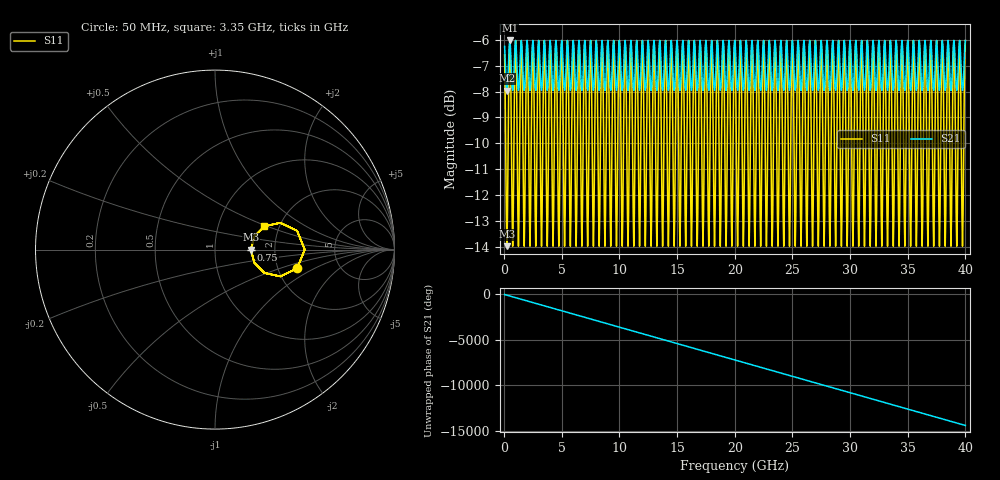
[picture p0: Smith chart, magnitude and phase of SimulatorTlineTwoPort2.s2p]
# MHz MA S R 50.0
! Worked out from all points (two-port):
!   800 points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, 50 MHz to 40 GHz, reference 50 ohm
!   highest |S21| = -6.02 dB at 500 MHz (marker M1); lowest = -8.0 dB at 250 MHz (marker M2)
!   |S21| within 3 dB of the highest: start of sweep to end of sweep
!   lowest |S11| = -14.0 dB at 250 MHz (marker M3), VSWR 1.50, Z = 75 + j0 ohm
!   |S11| at or under -10 dB: 142.9 MHz to 357.1 MHz (214.1 MHz wide, 85.7 % of centre); 642.9 MHz to 857.1 MHz (214.1 MHz wide, 28.6 % of centre); 1.143 GHz to 1.357 GHz (214.1 MHz wide, 17.1 % of centre)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
!   S12 and S22 are empty: the file has one direction only
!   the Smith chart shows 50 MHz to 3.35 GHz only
!   S11 on the Smith chart (normalised r, x): 50 MHz: 2.55, -0.69; 750 MHz: 1.50, +0.00; 3.35 GHz: 1.67, +0.48
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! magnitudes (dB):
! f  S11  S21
! 50 MHz  -6.6  -6.2
! 250 MHz  -14.0  -8.0
! 500 MHz  -6.0  -6.0
! 750 MHz  -14.0  -8.0
! 1 GHz  -6.0  -6.0
! 3.35 GHz  -10.3  -7.4
! 6.5 GHz  -6.0  -6.0
! 6.75 GHz  -14.0  -8.0
! 7 GHz  -6.0  -6.0
! 7.25 GHz  -14.0  -8.0
! 7.5 GHz  -6.0  -6.0
! 7.75 GHz  -14.0  -8.0
! 8 GHz  -6.0  -6.0
! 8.25 GHz  -14.0  -8.0
! 8.5 GHz  -6.0  -6.0
! 13.4 GHz  -8.1  -6.8
! 20.05 GHz  -6.6  -6.2
! 26.7 GHz  -12.7  -7.8
! 33.35 GHz  -10.3  -7.4
! 39.5 GHz  -6.0  -6.0
! 39.75 GHz  -14.0  -8.0
! 40 GHz  -6.0  -6.0
